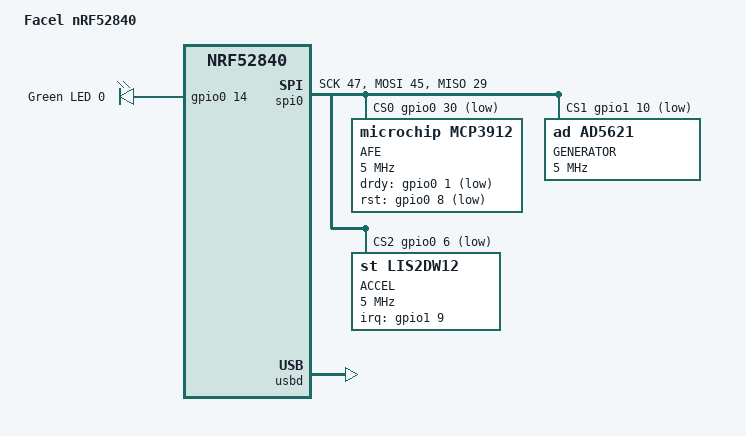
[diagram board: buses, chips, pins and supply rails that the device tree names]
/dts-v1/;
#include <nordic/nrf52840_qiaa.dtsi>

/ {
	model = "Facel nRF52840";
	compatible = "nordic,nrf52840_facel";

	chosen {
		zephyr,console = &uart0;
		zephyr,shell-uart = &uart0;
		zephyr,uart-mcumgr = &uart0;
		zephyr,bt-mon-uart = &uart0;
		zephyr,bt-c2h-uart = &uart0;
		zephyr,sram = &sram0;
		zephyr,flash = &flash0;
		zephyr,code-partition = &slot0_partition;
	};

	leds {
		compatible = "gpio-leds";
		led0: led_0 {
			gpios = <&gpio0 14 0>;
			label = "Green LED 0";
		};
	};

	/* These aliases are provided for compatibility with samples */
	aliases {
		led0 = &led0;
	};
};

&gpiote {
	status = "okay";
};

&gpio0 {
	status = "okay";
};

&gpio1 {
	status = "okay";
};

&spi0 {
	compatible = "nordic,nrf-spi";
	status = "okay";
	sck-pin = <47>;
	mosi-pin = <45>;
	miso-pin = <29>;
	cs-gpios = 	<&gpio0 30 GPIO_ACTIVE_LOW>,
			<&gpio1 10 GPIO_ACTIVE_LOW>,
			<&gpio0 6 GPIO_ACTIVE_LOW>;


        afe:mcp3912@0 {
		compatible = "microchip,mcp3912";
		label = "AFE";
		spi-max-frequency = <5000000>;
		reg = <0>;
		drdy-gpios = <&gpio0 1 GPIO_ACTIVE_LOW>;
		rst-gpios = <&gpio0 8 GPIO_ACTIVE_LOW>;
	};

	generator:ad5621@1 {
		compatible = "ad,ad5621";
		label = "GENERATOR";
		spi-max-frequency = <5000000>;
		reg = <1>;
	};

        accel:lis2dw12@2 {
		compatible = "st,lis2dw12";
		label = "ACCEL";
		spi-max-frequency = <5000000>;
		reg = <2>;
		irq-gpios = <&gpio1 9 GPIO_ACTIVE_HIGH>;
	};

	aliases {
		accel = &accel;
		afe = &afe;
		generator = &generator;
	};
};

&flash0 {

	partitions {
		compatible = "fixed-partitions";
		#address-cells = <1>;
		#size-cells = <1>;

		boot_partition: partition@0 {
			label = "mcuboot";
			reg = <0x000000000 0x0000C000>;
		};
		slot0_partition: partition@c000 {
			label = "image-0";
			reg = <0x0000C000 0x00067000>;
		};
		slot1_partition: partition@73000 {
			label = "image-1";
			reg = <0x00073000 0x00067000>;
		};
		scratch_partition: partition@da000 {
			label = "image-scratch";
			reg = <0x000da000 0x0001e000>;
		};

		/*
		 * The flash starting at 0x000f8000 and ending at
		 * 0x000fffff is reserved for use by the application.
		 */

		/*
		 * Storage partition will be used by FCB/LittleFS/NVS
		 * if enabled.
		 */
		storage_partition: partition@f8000 {
			label = "storage";
			reg = <0x000f8000 0x00008000>;
		};
	};
};

&usbd {
	compatible = "nordic,nrf-usbd";
	status = "okay";
};
